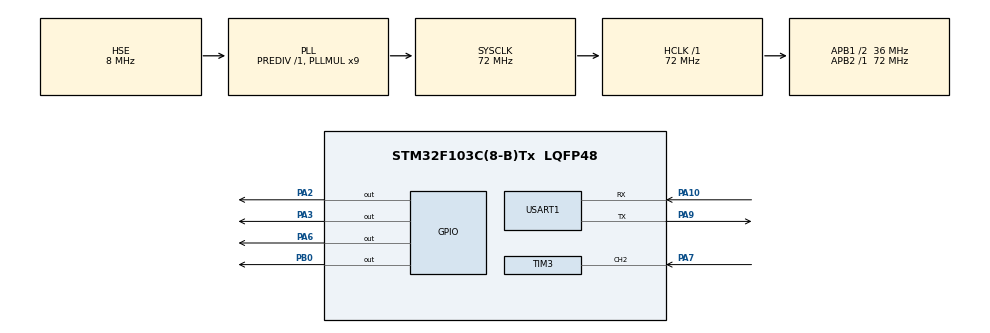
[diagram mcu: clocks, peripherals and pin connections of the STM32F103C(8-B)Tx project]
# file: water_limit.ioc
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Mcu.Family=STM32F1
Mcu.Name=STM32F103C(8-B)Tx
Mcu.Package=LQFP48
NVIC.PriorityGroup=NVIC_PRIORITYGROUP_4
NVIC.TIM3_IRQn=true\:0\:0\:false\:false\:true\:true\:true\:true
PA10.Mode=Asynchronous
PA10.Signal=USART1_RX
PA13.Mode=Serial_Wire
PA13.Signal=SYS_JTMS-SWDIO
PA14.Mode=Serial_Wire
PA14.Signal=SYS_JTCK-SWCLK
PA2.Signal=GPIO_Output
PA3.Signal=GPIO_Output
PA6.Signal=GPIO_Output
PA7.Signal=S_TIM3_CH2
PA9.Mode=Asynchronous
PA9.Signal=USART1_TX
PB0.Signal=GPIO_Output
PD0-OSC_IN.Mode=HSE-External-Oscillator
PD0-OSC_IN.Signal=RCC_OSC_IN
PD1-OSC_OUT.Mode=HSE-External-Oscillator
PD1-OSC_OUT.Signal=RCC_OSC_OUT
ProjectManager.HeapSize=0x200
ProjectManager.StackSize=0x400
ProjectManager.TargetToolchain=STM32CubeIDE
RCC.AHBFreq_Value=72000000
RCC.APB1CLKDivider=RCC_HCLK_DIV2
RCC.APB1Freq_Value=36000000
RCC.APB1TimFreq_Value=72000000
RCC.APB2Freq_Value=72000000
RCC.APB2TimFreq_Value=72000000
RCC.HCLKFreq_Value=72000000
RCC.PLLMUL=RCC_PLL_MUL9
RCC.PLLSourceVirtual=RCC_PLLSOURCE_HSE
RCC.SYSCLKFreq_VALUE=72000000
RCC.SYSCLKSource=RCC_SYSCLKSOURCE_PLLCLK
RCC.USBFreq_Value=72000000
SH.S_TIM3_CH2.0=TIM3_CH2,Input_Capture2_from_TI2
TIM3.Channel-Input_Capture2_from_TI2=TIM_CHANNEL_2
TIM3.Period=1000-1
TIM3.Prescaler=72
USART1.VirtualMode=VM_ASYNC
VP_TIM3_VS_ClockSourceINT.Mode=Internal
board=custom

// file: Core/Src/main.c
/* USER CODE BEGIN Header */
/**
  ******************************************************************************
  * @file           : main.c
  * @brief          : Main program body
  ******************************************************************************
  * @attention
  *
  * Copyright (c) 2024 STMicroelectronics.
  * All rights reserved.
  *
  * This software is licensed under terms that can be found in the LICENSE file
  * in the root directory of this software component.
  * If no LICENSE file comes with this software, it is provided AS-IS.
  *
  ******************************************************************************
  */
/* USER CODE END Header */
#include "main.h"

/* USER CODE BEGIN Includes */
#include "state.h"
/* USER CODE END Includes */

TIM_HandleTypeDef htim3;

UART_HandleTypeDef huart1;

void SystemClock_Config(void);
static void MX_GPIO_Init(void);
static void MX_USART1_UART_Init(void);
static void MX_TIM3_Init(void);

int main(void)
{
  /* USER CODE BEGIN 1 */
	state_t state = IDLE;
  /* USER CODE END 1 */

  /* MCU Configuration--------------------------------------------------------*/

  /* Reset of all peripherals, Initializes the Flash interface and the Systick. */
  HAL_Init();

  /* Configure the system clock */
  SystemClock_Config();

  /* Initialize all configured peripherals */
  MX_GPIO_Init();
  MX_USART1_UART_Init();
  MX_TIM3_Init();
  /* USER CODE BEGIN 2 */
  sr04_set_io();
  sr04_set_timer();
  sr04_clear_count();
  sr04_timer_start();
  sr04_set_trigger(TRIGGER_OFF);
  /* USER CODE END 2 */

  /* Infinite loop */
  /* USER CODE BEGIN WHILE */
  while (1)
  {
	switch(state){
		case IDLE:
			if(sr04_get_count_in_ms() > 100000-1)
			{
				state = TRIGGER;
				sr04_timer_stop();
				sr04_clear_count();
				sr04_timer_start();
			}
			break;
		case TRIGGER:

			sr04_set_trigger(TRIGGER_ON);
			if(sr04_get_count_in_ms() > 1-1)
			{
				sr04_set_trigger(TRIGGER_OFF);
				sr04_timer_stop();
				sr04_clear_count();
				state = WAIT;
			}
			break;
		case WAIT:
			io_state = sr04_get_echo_state();
			if(sr04_get_echo_state() == 0)
			{
				sr04_timer_start();
				state = ECHO;
			}
			break;
		case ECHO:
			sr04_set_trigger(TRIGGER_OFF);
			break;
		case COMPUTE:
			break;
		case ACTION:
			break;
		default :
			break;
	}

    /* USER CODE END WHILE */

  }
}

void SystemClock_Config(void)
{
  RCC_OscInitTypeDef RCC_OscInitStruct = {0};
  RCC_ClkInitTypeDef RCC_ClkInitStruct = {0};

  /** Initializes the RCC Oscillators according to the specified parameters
  * in the RCC_OscInitTypeDef structure.
  */
  RCC_OscInitStruct.OscillatorType = RCC_OSCILLATORTYPE_HSE;
  RCC_OscInitStruct.HSEState = RCC_HSE_ON;
  RCC_OscInitStruct.HSEPredivValue = RCC_HSE_PREDIV_DIV1;
  RCC_OscInitStruct.HSIState = RCC_HSI_ON;
  RCC_OscInitStruct.PLL.PLLState = RCC_PLL_ON;
  RCC_OscInitStruct.PLL.PLLSource = RCC_PLLSOURCE_HSE;
  RCC_OscInitStruct.PLL.PLLMUL = RCC_PLL_MUL9;
  if (HAL_RCC_OscConfig(&RCC_OscInitStruct) != HAL_OK)
  {
    Error_Handler();
  }

  /** Initializes the CPU, AHB and APB buses clocks
  */
  RCC_ClkInitStruct.ClockType = RCC_CLOCKTYPE_HCLK|RCC_CLOCKTYPE_SYSCLK
                              |RCC_CLOCKTYPE_PCLK1|RCC_CLOCKTYPE_PCLK2;
  RCC_ClkInitStruct.SYSCLKSource = RCC_SYSCLKSOURCE_PLLCLK;
  RCC_ClkInitStruct.AHBCLKDivider = RCC_SYSCLK_DIV1;
  RCC_ClkInitStruct.APB1CLKDivider = RCC_HCLK_DIV2;
  RCC_ClkInitStruct.APB2CLKDivider = RCC_HCLK_DIV1;

  if (HAL_RCC_ClockConfig(&RCC_ClkInitStruct, FLASH_LATENCY_2) != HAL_OK)
  {
    Error_Handler();
  }
}

static void MX_TIM3_Init(void)
{

  TIM_ClockConfigTypeDef sClockSourceConfig = {0};
  TIM_MasterConfigTypeDef sMasterConfig = {0};
  TIM_IC_InitTypeDef sConfigIC = {0};

  htim3.Instance = TIM3;
  htim3.Init.Prescaler = 72;
  htim3.Init.CounterMode = TIM_COUNTERMODE_UP;
  htim3.Init.Period = 1000-1;
  htim3.Init.ClockDivision = TIM_CLOCKDIVISION_DIV1;
  htim3.Init.AutoReloadPreload = TIM_AUTORELOAD_PRELOAD_DISABLE;
  if (HAL_TIM_Base_Init(&htim3) != HAL_OK)
  {
    Error_Handler();
  }
  sClockSourceConfig.ClockSource = TIM_CLOCKSOURCE_INTERNAL;
  if (HAL_TIM_ConfigClockSource(&htim3, &sClockSourceConfig) != HAL_OK)
  {
    Error_Handler();
  }
  if (HAL_TIM_IC_Init(&htim3) != HAL_OK)
  {
    Error_Handler();
  }
  sMasterConfig.MasterOutputTrigger = TIM_TRGO_RESET;
  sMasterConfig.MasterSlaveMode = TIM_MASTERSLAVEMODE_DISABLE;
  if (HAL_TIMEx_MasterConfigSynchronization(&htim3, &sMasterConfig) != HAL_OK)
  {
    Error_Handler();
  }
  sConfigIC.ICPolarity = TIM_INPUTCHANNELPOLARITY_RISING;
  sConfigIC.ICSelection = TIM_ICSELECTION_DIRECTTI;
  sConfigIC.ICPrescaler = TIM_ICPSC_DIV1;
  sConfigIC.ICFilter = 0;
  if (HAL_TIM_IC_ConfigChannel(&htim3, &sConfigIC, TIM_CHANNEL_2) != HAL_OK)
  {
    Error_Handler();
  }

}

static void MX_USART1_UART_Init(void)
{

  huart1.Instance = USART1;
  huart1.Init.BaudRate = 115200;
  huart1.Init.WordLength = UART_WORDLENGTH_8B;
  huart1.Init.StopBits = UART_STOPBITS_1;
  huart1.Init.Parity = UART_PARITY_NONE;
  huart1.Init.Mode = UART_MODE_TX_RX;
  huart1.Init.HwFlowCtl = UART_HWCONTROL_NONE;
  huart1.Init.OverSampling = UART_OVERSAMPLING_16;
  if (HAL_UART_Init(&huart1) != HAL_OK)
  {
    Error_Handler();
  }

}

static void MX_GPIO_Init(void)
{
  GPIO_InitTypeDef GPIO_InitStruct = {0};

  /* GPIO Ports Clock Enable */
  __HAL_RCC_GPIOD_CLK_ENABLE();
  __HAL_RCC_GPIOA_CLK_ENABLE();
  __HAL_RCC_GPIOB_CLK_ENABLE();

  /*Configure GPIO pin Output Level */
  HAL_GPIO_WritePin(GPIOA, GPIO_PIN_2|GPIO_PIN_3|GPIO_PIN_6, GPIO_PIN_RESET);

  /*Configure GPIO pin Output Level */
  HAL_GPIO_WritePin(GPIOB, GPIO_PIN_0, GPIO_PIN_RESET);

  /*Configure GPIO pins : PA2 PA3 PA6 */
  GPIO_InitStruct.Pin = GPIO_PIN_2|GPIO_PIN_3|GPIO_PIN_6;
  GPIO_InitStruct.Mode = GPIO_MODE_OUTPUT_PP;
  GPIO_InitStruct.Pull = GPIO_NOPULL;
  GPIO_InitStruct.Speed = GPIO_SPEED_FREQ_LOW;
  HAL_GPIO_Init(GPIOA, &GPIO_InitStruct);

  /*Configure GPIO pin : PB0 */
  GPIO_InitStruct.Pin = GPIO_PIN_0;
  GPIO_InitStruct.Mode = GPIO_MODE_OUTPUT_PP;
  GPIO_InitStruct.Pull = GPIO_NOPULL;
  GPIO_InitStruct.Speed = GPIO_SPEED_FREQ_LOW;
  HAL_GPIO_Init(GPIOB, &GPIO_InitStruct);

}

void Error_Handler(void)
{
  __disable_irq();
  while (1)
  {
  }
}
